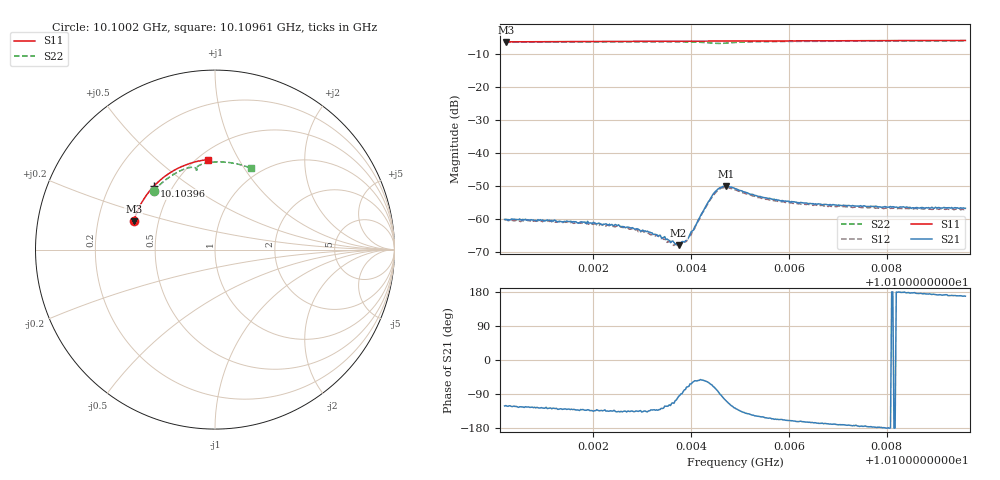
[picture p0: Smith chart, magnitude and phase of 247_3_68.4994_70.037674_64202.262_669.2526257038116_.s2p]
#  HZ  S  RI  R  50.00
! Rohde & Schwarz Vector Network Analyzer
! Rohde-Schwarz,ZNB20-2Port,1311601062101988,3.16
! Created: UTC 3/20/2024, 4:59:42 PM
! freq[Hz]  re:S11  im:S11  re:S21  im:S21  re:S12  im:S12  re:S22  im:S22
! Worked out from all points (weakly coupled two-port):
!   401 points, 10.1002 GHz to 10.10961 GHz, reference 50 ohm
!   highest |S21| = -49.98 dB at 10.10471 GHz (marker M1); lowest = -67.8 dB at 10.10375 GHz (marker M2)
!   lowest |S11| = -6.4 dB at 10.10022 GHz (marker M3), VSWR 2.84, Z = 18.1 + j7.43 ohm
!   |S11| at or under -10 dB: nowhere
!   |S22| runs from -6.9 to -6.1 dB; largest |S21 - S12| = 0.00033
!   S11 on the Smith chart (normalised r, x): 10.1002 GHz: 0.36, +0.15; 10.10396 GHz: 0.40, +0.37; 10.10961 GHz: 0.56, +0.75
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1.0100196e10  -0.4526 0.1573  -0.000517 -0.000852  -0.000436 -0.000891  -0.3416 0.3254
1.0100219e10  -0.4522 0.1585  -0.000503 -0.000865  -0.000442 -0.000871  -0.3407 0.3265
1.0101772e10  -0.4171 0.2463  -0.000605 -0.00069  -0.000534 -0.00071  -0.2671 0.3948
1.0102502e10  -0.3947 0.2846  -0.000582 -0.000554  -0.000527 -0.000592  -0.2273 0.4212
1.0102666e10  -0.3892 0.293  -0.00053 -0.000526  -0.000489 -0.000578  -0.2179 0.4266
1.0103113e10  -0.3733 0.3151  -0.000482 -0.000455  -0.000418 -0.000468  -0.1912 0.4402
1.0103349e10  -0.3647 0.3263  -0.000372 -0.000429  -0.000305 -0.000449  -0.1764 0.4463
1.0103654e10  -0.3526 0.3403  -0.000185 -0.000408  -0.000101 -0.00039  -0.1559 0.4536
1.0103749e10  -0.3488 0.3447  -4.5e-05 -0.000404  -2e-05 -0.000393  -0.1495 0.4555
1.010389e10  -0.3429 0.3509  0.0001 -0.000464  0.000135 -0.000437  -0.1391 0.4575
1.010396e10  -0.3399 0.354  0.000192 -0.000509  0.00025 -0.000467  -0.1336 0.4583
1.0104078e10  -0.3351 0.3592  0.000443 -0.000629  0.000453 -0.000571  -0.1244 0.4589
1.010429e10  -0.3259 0.3682  0.000857 -0.00123  0.000933 -0.00112  -0.1078 0.4551
1.0104454e10  -0.3187 0.375  0.000835 -0.00225  0.000988 -0.00207  -0.1002 0.4469
1.0104572e10  -0.3135 0.3797  0.00021 -0.00293  0.000417 -0.00277  -0.1016 0.4422
1.0104713e10  -0.3071 0.3854  -0.00093 -0.00303  -0.000656 -0.003  -0.1058 0.4455
1.0104901e10  -0.2984 0.3929  -0.00175 -0.00233  -0.00147 -0.00237  -0.1021 0.4577
1.0105184e10  -0.2852 0.4036  -0.00193 -0.0015  -0.00172 -0.00159  -0.0848 0.4709
1.0105537e10  -0.268 0.4163  -0.00187 -0.000976  -0.0017 -0.00107  -0.0603 0.4795
1.0106478e10  -0.2194 0.4462  -0.00166 -0.000461  -0.00154 -0.00057  0.00286 0.4883
1.0108054e10  -0.1316 0.4829  -0.00154 -3.4e-07  -0.00148 -0.000162  0.1044 0.4812
1.0109607e10  -0.0396 0.5014  -0.00144 0.000294  -0.0014 0.000138  0.1994 0.4535
